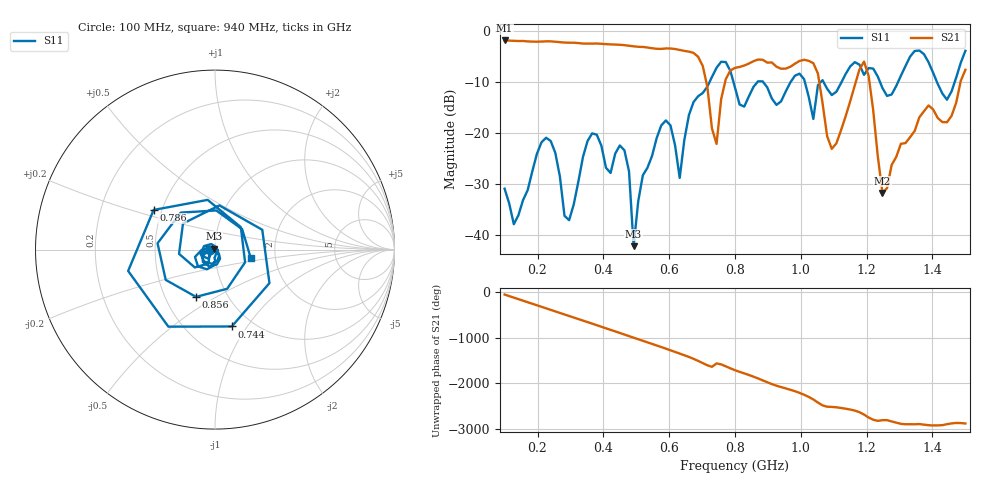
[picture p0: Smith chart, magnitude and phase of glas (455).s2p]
! NanoVNA-App
! Date: 2025-09-25 15:59:01
! Start: 100MHz Stop: 1,5GHz Points: 101
! S-Parameter data: F S11 S21 S12 S22
# Hz S RI R 50
!  Frequency  S11_Real  S11_Imag  S21_Real  S21_Imag  S12_Real  S12_Imag  S22_Real  S22_Imag
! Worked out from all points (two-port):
!   101 points, 100 MHz to 1.5 GHz, reference 50 ohm
!   highest |S21| = -1.80 dB at 100 MHz (marker M1); lowest = -31.8 dB at 1.248 GHz (marker M2)
!   |S21| within 3 dB of the highest: start of sweep to 684.3 MHz
!   lowest |S11| = -42.2 dB at 492 MHz (marker M3), VSWR 1.02, Z = 49.5 + j0.59 ohm
!   |S11| at or under -10 dB: start of sweep to 722.5 MHz; 795.4 MHz to 867.9 MHz (72.47 MHz wide, 8.71 % of centre); 885.9 MHz to 968.7 MHz (82.84 MHz wide, 8.93 % of centre) (the widest 3 of 7)
!   S12 and S22 are empty: the file has one direction only
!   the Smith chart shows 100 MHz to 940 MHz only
!   S11 on the Smith chart (normalised r, x): 100 MHz: 0.95, -0.01; 744 MHz: 0.80, -0.85; 786 MHz: 0.45, +0.24; 856 MHz: 0.71, -0.41; 940 MHz: 1.49, -0.15
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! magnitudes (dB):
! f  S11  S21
! 100 MHz  -30.9  -1.8
! 128 MHz  -37.9  -1.9
! 226 MHz  -20.9  -2.0
! 296 MHz  -37.1  -2.2
! 338 MHz  -24.7  -2.4
! 464 MHz  -23.4  -2.7
! 492 MHz  -42.2  -3.0
! 576 MHz  -18.5  -3.5
! 632 MHz  -28.8  -3.7
! 702 MHz  -12.1  -6.8
! 744 MHz  -7.2  -22.1
! 786 MHz  -7.8  -7.7
! 800 MHz  -11.1  -7.2
! 856 MHz  -10.9  -5.9
! 940 MHz  -13.8  -7.4
! 1.038 GHz  -17.2  -6.3
! 1.094 GHz  -12.5  -23.1
! 1.192 GHz  -8.6  -6.0
! 1.248 GHz  -11.2  -31.8
! 1.276 GHz  -12.4  -26.3
! 1.444 GHz  -13.4  -17.9
! 1.5 GHz  -3.8  -7.6
